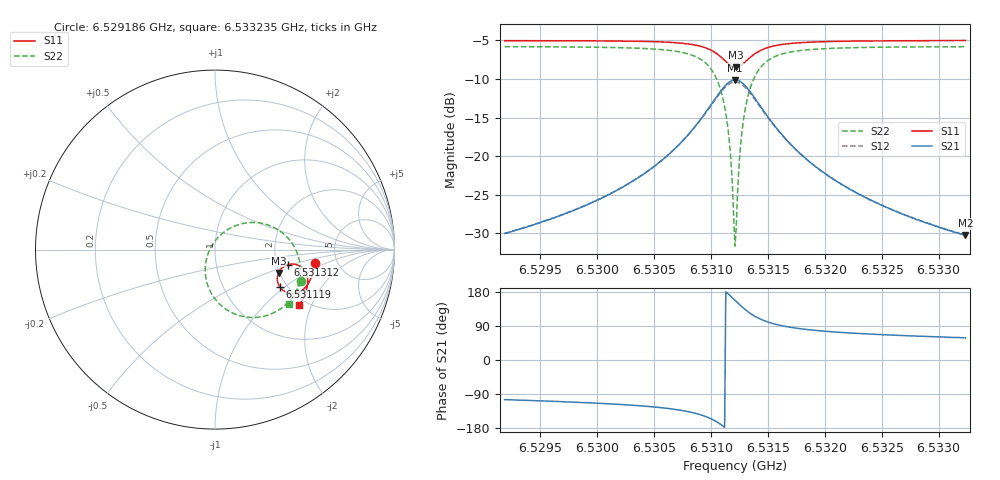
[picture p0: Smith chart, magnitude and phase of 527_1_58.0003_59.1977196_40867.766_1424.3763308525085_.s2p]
#  HZ  S  RI  R  50.00
! Rohde & Schwarz Vector Network Analyzer
! Rohde-Schwarz,ZNB20-2Port,1311601062101988,3.16
! Created: UTC 3/21/2024, 1:13:56 AM
! freq[Hz]  re:S11  im:S11  re:S21  im:S21  re:S12  im:S12  re:S22  im:S22
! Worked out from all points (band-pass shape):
!   401 points, 6.529186 GHz to 6.533235 GHz, reference 50 ohm
!   highest |S21| = -10.11 dB at 6.531211 GHz (marker M1); lowest = -30.3 dB at 6.533235 GHz (marker M2)
!   |S21| within 3 dB of the highest: 6.53101 GHz to 6.531414 GHz (404.6 kHz wide, 0.00619 % of centre)
!   lowest |S11| = -8.5 dB at 6.531221 GHz (marker M3), VSWR 2.21, Z = 98.8 - j29.8 ohm
!   |S11| at or under -10 dB: nowhere
!   |S22| runs from -31.6 to -5.8 dB; largest |S21 - S12| = 0.012
!   S11 on the Smith chart (normalised r, x): 6.529186 GHz: 3.39, -0.72; 6.531119 GHz: 1.83, -0.93; 6.531312 GHz: 2.31, -0.46; 6.533235 GHz: 1.82, -1.64
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6.5291858e9  0.5561 -0.0723  -0.00807 -0.0306  -0.00852 -0.0306  0.4815 -0.1768
6.5298641e9  0.5447 -0.1289  -0.0177 -0.0435  -0.0187 -0.0432  0.4501 -0.2397
6.5302286e9  0.5331 -0.1626  -0.0296 -0.0561  -0.0309 -0.0556  0.4185 -0.2821
6.5305424e9  0.515 -0.1965  -0.0527 -0.0744  -0.0544 -0.0728  0.3667 -0.3286
6.5307752e9  0.4871 -0.2258  -0.093 -0.0934  -0.0956 -0.0902  0.2851 -0.3678
6.5309473e9  0.4426 -0.2442  -0.162 -0.099  -0.1644 -0.0926  0.1577 -0.373
6.5310486e9  0.3971 -0.2379  -0.2324 -0.0716  -0.2313 -0.0619  0.0392 -0.3157
6.5311194e9  0.362 -0.2092  -0.2838 -0.0115  -0.2776 -0.00165  -0.0378 -0.2064
6.5311599e9  0.3492 -0.1805  -0.2995 0.0423  -0.2902 0.0503  -0.0547 -0.1144
6.5312004e9  0.3487 -0.1464  -0.294 0.104  -0.2829 0.1083  -0.0355 -0.0145
6.5312105e9  0.3509 -0.1378  -0.2888 0.1191  -0.2775 0.1223  -0.0245 0.00929
6.5312207e9  0.3539 -0.1295  -0.2822 0.1337  -0.2709 0.1358  -0.0112 0.0318
6.5312308e9  0.3579 -0.1216  -0.2741 0.1473  -0.263 0.1485  0.0041 0.0531
6.5312612e9  0.374 -0.1015  -0.2432 0.1821  -0.2332 0.1807  0.0601 0.1049
6.5312814e9  0.3872 -0.0918  -0.219 0.1987  -0.2103 0.1963  0.1025 0.1284
6.5313118e9  0.4082 -0.083  -0.1812 0.214  -0.1745 0.2107  0.1675 0.1478
6.5313826e9  0.4524 -0.0836  -0.1042 0.2152  -0.1008 0.2119  0.2963 0.1369
6.5314839e9  0.4904 -0.1066  -0.0385 0.1828  -0.0369 0.1808  0.4031 0.0678
6.5316357e9  0.5119 -0.1437  0.000809 0.1346  0.00198 0.1339  0.4615 -0.0292
6.5318888e9  0.5163 -0.1876  0.017 0.0876  0.0182 0.0874  0.4758 -0.1277
6.5325671e9  0.497 -0.2581  0.0187 0.0419  0.0194 0.0416  0.4469 -0.2443
6.5332352e9  0.4707 -0.3082  0.0161 0.0261  0.0165 0.0261  0.4125 -0.3041
